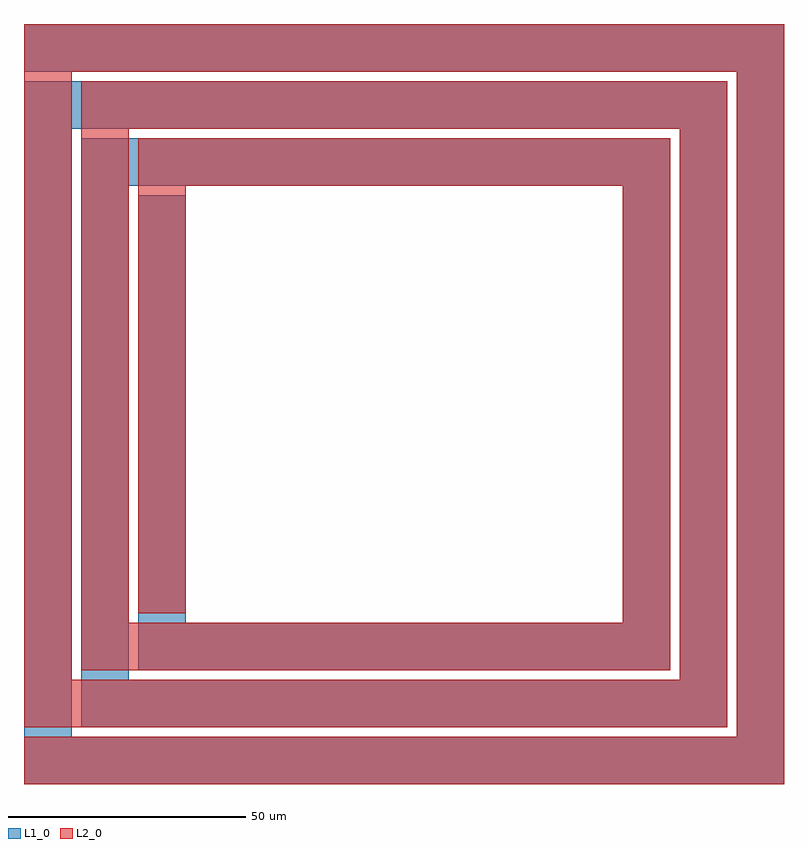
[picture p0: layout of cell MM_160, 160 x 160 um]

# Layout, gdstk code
import gdstk
lib = gdstk.Library(unit=1e-6, precision=1e-09)
def P(c, l, *ps):  # polygons
    for p in ps: c.add(gdstk.Polygon(p, *l))
L1_0 = (1, 0)
L2_0 = (2, 0)

mm_160 = lib.new_cell('MM_160')
P(mm_160, L1_0, [(100,250),(100,260),(260,260),(250,250)],
  [(260,100),(250,110),(250,250),(260,260)],
  [(100,100),(110,110),(250,110),(260,100)],
  [(100,100),(100,248),(110,238),(110,110)],
  [(110,238),(100,248),(248,248),(238,238)],
  [(248,112),(238,122),(238,238),(248,248)],
  [(112,112),(122,122),(238,122),(248,112)],
  [(112,112),(112,236),(122,226),(122,122)],
  [(122,226),(112,236),(236,236),(226,226)],
  [(236,124),(226,134),(226,226),(236,236)],
  [(124,124),(134,134),(226,134),(236,124)],
  [(124,124),(124,224),(134,224),(134,134)])
P(mm_160, L2_0, [(124,136),(124,236),(134,226),(134,136)],
  [(134,226),(124,236),(236,236),(226,226)],
  [(236,124),(226,134),(226,226),(236,236)],
  [(112,124),(122,134),(226,134),(236,124)],
  [(112,124),(112,248),(122,238),(122,134)],
  [(122,238),(112,248),(248,248),(238,238)],
  [(248,112),(238,122),(238,238),(248,248)],
  [(100,112),(110,122),(238,122),(248,112)],
  [(100,112),(100,260),(110,250),(110,122)],
  [(110,250),(100,260),(260,260),(250,250)],
  [(260,100),(250,110),(250,250),(260,260)],
  [(100,100),(100,110),(250,110),(260,100)])

lib.write_gds('MM_160.gds')
